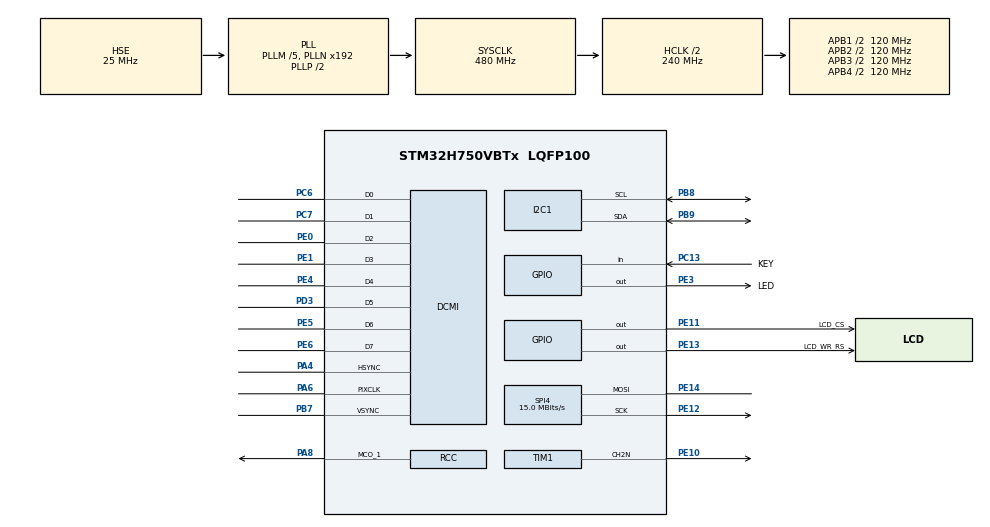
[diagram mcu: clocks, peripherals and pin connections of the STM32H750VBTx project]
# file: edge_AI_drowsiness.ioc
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CORTEX_M7.CPU_DCache=Enabled
CORTEX_M7.CPU_ICache=Enabled
CORTEX_M7.default_mode_Activation=1
DCMI.JPEGMode=DCMI_JPEG_DISABLE
DCMI.PCKPolarity=DCMI_PCKPOLARITY_RISING
Dma.DCMI.0.Direction=DMA_PERIPH_TO_MEMORY
Dma.DCMI.0.EventEnable=DISABLE
Dma.DCMI.0.FIFOMode=DMA_FIFOMODE_DISABLE
Dma.DCMI.0.Instance=DMA1_Stream0
Dma.DCMI.0.MemDataAlignment=DMA_MDATAALIGN_WORD
Dma.DCMI.0.MemInc=DMA_MINC_ENABLE
Dma.DCMI.0.Mode=DMA_CIRCULAR
Dma.DCMI.0.PeriphDataAlignment=DMA_PDATAALIGN_WORD
Dma.DCMI.0.PeriphInc=DMA_PINC_DISABLE
Dma.DCMI.0.Polarity=HAL_DMAMUX_REQ_GEN_RISING
Dma.DCMI.0.Priority=DMA_PRIORITY_LOW
Dma.DCMI.0.RequestNumber=1
Dma.DCMI.0.SignalID=NONE
Dma.DCMI.0.SyncEnable=DISABLE
Dma.DCMI.0.SyncPolarity=HAL_DMAMUX_SYNC_NO_EVENT
Dma.DCMI.0.SyncRequestNumber=1
Dma.DCMI.0.SyncSignalID=NONE
Dma.Request0=DCMI
I2C1.I2C_Fall_Time=10
I2C1.I2C_Rise_Time=100
I2C1.Timing=0x40805E8A
Mcu.Family=STM32H7
Mcu.Name=STM32H750VBTx
Mcu.Package=LQFP100
NVIC.DCMI_IRQn=true\:0\:0\:false\:false\:true\:true\:true\:true
NVIC.DMA1_Stream0_IRQn=true\:0\:0\:false\:false\:true\:false\:true\:true
NVIC.PriorityGroup=NVIC_PRIORITYGROUP_4
NVIC.TIM16_IRQn=true\:2\:0\:true\:false\:true\:true\:true\:true
PA13\ (JTMS/SWDIO).Mode=Serial_Wire
PA13\ (JTMS/SWDIO).Signal=DEBUG_JTMS-SWDIO
PA14\ (JTCK/SWCLK).Mode=Serial_Wire
PA14\ (JTCK/SWCLK).Signal=DEBUG_JTCK-SWCLK
PA4.Mode=Slave_8_bits_External_Synchro
PA4.Signal=DCMI_HSYNC
PA6.Mode=Slave_8_bits_External_Synchro
PA6.Signal=DCMI_PIXCLK
PA8.GPIO_Speed=GPIO_SPEED_FREQ_HIGH
PA8.Mode=Clock-out-1
PA8.Signal=RCC_MCO_1
PB7.Mode=Slave_8_bits_External_Synchro
PB7.Signal=DCMI_VSYNC
PB8.GPIO_Pu=GPIO_PULLUP
PB8.Mode=I2C
PB8.Signal=I2C1_SCL
PB9.GPIO_Pu=GPIO_PULLUP
PB9.Mode=I2C
PB9.Signal=I2C1_SDA
PC13.GPIO_Label=KEY
PC13.GPIO_PuPd=GPIO_PULLDOWN
PC13.Signal=GPIO_Input
PC14-OSC32_IN\ (OSC32_IN).Mode=LSE-External-Oscillator
PC14-OSC32_IN\ (OSC32_IN).Signal=RCC_OSC32_IN
PC15-OSC32_OUT\ (OSC32_OUT).Mode=LSE-External-Oscillator
PC15-OSC32_OUT\ (OSC32_OUT).Signal=RCC_OSC32_OUT
PC6.Mode=Slave_8_bits_External_Synchro
PC6.Signal=DCMI_D0
PC7.Mode=Slave_8_bits_External_Synchro
PC7.Signal=DCMI_D1
PD3.Mode=Slave_8_bits_External_Synchro
PD3.Signal=DCMI_D5
PE0.Mode=Slave_8_bits_External_Synchro
PE0.Signal=DCMI_D2
PE1.Mode=Slave_8_bits_External_Synchro
PE1.Signal=DCMI_D3
PE10.Mode=PWM Generation2 CH2N
PE10.Signal=TIM1_CH2N
PE11.GPIO_Label=LCD_CS
PE11.GPIO_PuPd=GPIO_NOPULL
PE11.GPIO_Speed=GPIO_SPEED_FREQ_VERY_HIGH
PE11.PinState=GPIO_PIN_SET
PE11.Signal=GPIO_Output
PE12.GPIO_Speed=GPIO_SPEED_FREQ_HIGH
PE12.Mode=Simplex_Bidirectional_Master
PE12.Signal=SPI4_SCK
PE13.GPIO_Label=LCD_WR_RS
PE13.GPIO_PuPd=GPIO_NOPULL
PE13.GPIO_Speed=GPIO_SPEED_FREQ_VERY_HIGH
PE13.PinState=GPIO_PIN_SET
PE13.Signal=GPIO_Output
PE14.GPIO_Speed=GPIO_SPEED_FREQ_HIGH
PE14.Mode=Simplex_Bidirectional_Master
PE14.Signal=SPI4_MOSI
PE3.GPIO_Label=LED
PE3.Signal=GPIO_Output
PE4.Mode=Slave_8_bits_External_Synchro
PE4.Signal=DCMI_D4
PE5.Mode=Slave_8_bits_External_Synchro
PE5.Signal=DCMI_D6
PE6.Mode=Slave_8_bits_External_Synchro
PE6.Signal=DCMI_D7
PH0-OSC_IN\ (PH0).Mode=HSE-External-Oscillator
PH0-OSC_IN\ (PH0).Signal=RCC_OSC_IN
PH1-OSC_OUT\ (PH1).Mode=HSE-External-Oscillator
PH1-OSC_OUT\ (PH1).Signal=RCC_OSC_OUT
ProjectManager.HeapSize=0x800
ProjectManager.StackSize=0x800
ProjectManager.TargetToolchain=STM32CubeIDE
RCC.ADCFreq_Value=50390625
RCC.APB1Freq_Value=120000000
RCC.APB2Freq_Value=120000000
RCC.APB3Freq_Value=120000000
RCC.APB4Freq_Value=120000000
RCC.CortexFreq_Value=480000000
RCC.D1PPRE=RCC_APB3_DIV2
RCC.D2PPRE1=RCC_APB1_DIV2
RCC.D2PPRE2=RCC_APB2_DIV2
RCC.D3PPRE=RCC_APB4_DIV2
RCC.DIVM1=5
RCC.DIVN1=192
RCC.HCLKFreq_Value=240000000
RCC.HPRE=RCC_HCLK_DIV2
RCC.HSE_VALUE=25000000
RCC.PLLFRACN=0
RCC.PLLSourceVirtual=RCC_PLLSOURCE_HSE
RCC.PWR_Regulator_Voltage_Scale=PWR_REGULATOR_VOLTAGE_SCALE0
RCC.RCC_MCO1Source=RCC_MCO1SOURCE_HSI48
RCC.RCC_MCODiv1=RCC_MCODIV_4
RCC.SYSCLKFreq_VALUE=480000000
RCC.SYSCLKSource=RCC_SYSCLKSOURCE_PLLCLK
RCC.USBFreq_Value=480000000
SPI4.BaudRatePrescaler=SPI_BAUDRATEPRESCALER_8
SPI4.CalculateBaudRate=15.0 MBits/s
SPI4.DataSize=SPI_DATASIZE_8BIT
SPI4.Direction=SPI_DIRECTION_1LINE
SPI4.Mode=SPI_MODE_MASTER
SPI4.VirtualType=VM_MASTER
STMicroelectronics.X-CUBE-AI.10.0.0.ActivationBufferSizeList=417368
STMicroelectronics.X-CUBE-AI.10.0.0.ActivationBuffers=pool0
STMicroelectronics.X-CUBE-AI.10.0.0.ActivationNames=pool0
STMicroelectronics.X-CUBE-AI.10.0.0.ActivationSizes=AI_NETWORK_DATA_ACTIVATION_1_SIZE
STMicroelectronics.X-CUBE-AI.10.0.0.HeapSize=0x800
STMicroelectronics.X-CUBE-AI.10.0.0.InternalRamActivationBufferMaxSize=AI_NETWORK_DATA_ACTIVATIONS_SIZE
STMicroelectronics.X-CUBE-AI.10.0.0.LatestDirectoryUsed-7c6d498de8e2926c5082a3bf646950b1383796cef7a9a96e32950ee958e1d675=D\:\\Duc_PC\\Hoc_AI_lap_trinh\\notebook_edge_ai\\ModelAI\\model_24_05_2025
STMicroelectronics.X-CUBE-AI.10.0.0.MaximumNumberOfInputLayer=1
STMicroelectronics.X-CUBE-AI.10.0.0.MaximumNumberOfOutputLayer=1
STMicroelectronics.X-CUBE-AI.10.0.0.MaximumSizeOfInputLayer=1
STMicroelectronics.X-CUBE-AI.10.0.0.MaximumSizeOfOutputLayer=1
STMicroelectronics.X-CUBE-AI.10.0.0.ModelActualCompression-7c6d498de8e2926c5082a3bf646950b1383796cef7a9a96e32950ee958e1d675=0.0
STMicroelectronics.X-CUBE-AI.10.0.0.ModelCompression-7c6d498de8e2926c5082a3bf646950b1383796cef7a9a96e32950ee958e1d675=None
STMicroelectronics.X-CUBE-AI.10.0.0.ModelFlashOccupation-7c6d498de8e2926c5082a3bf646950b1383796cef7a9a96e32950ee958e1d675=30722
STMicroelectronics.X-CUBE-AI.10.0.0.ModelHashList=7c6d498de8e2926c5082a3bf646950b1383796cef7a9a96e32950ee958e1d675
STMicroelectronics.X-CUBE-AI.10.0.0.ModelKind-7c6d498de8e2926c5082a3bf646950b1383796cef7a9a96e32950ee958e1d675=ONNX
STMicroelectronics.X-CUBE-AI.10.0.0.ModelMacc-7c6d498de8e2926c5082a3bf646950b1383796cef7a9a96e32950ee958e1d675=2498111
STMicroelectronics.X-CUBE-AI.10.0.0.ModelName-7c6d498de8e2926c5082a3bf646950b1383796cef7a9a96e32950ee958e1d675=network
STMicroelectronics.X-CUBE-AI.10.0.0.ModelNameList=network
STMicroelectronics.X-CUBE-AI.10.0.0.ModelRamOccupation-7c6d498de8e2926c5082a3bf646950b1383796cef7a9a96e32950ee958e1d675=417368
STMicroelectronics.X-CUBE-AI.10.0.0.ModelStructureFile-7c6d498de8e2926c5082a3bf646950b1383796cef7a9a96e32950ee958e1d675=D\:\\Duc_PC\\Hoc_AI_lap_trinh\\notebook_edge_ai\\ModelAI\\model_24_05_2025\\best_model_grayscale_128x128_24_05_2025.onnx
STMicroelectronics.X-CUBE-AI.10.0.0.ModelType-7c6d498de8e2926c5082a3bf646950b1383796cef7a9a96e32950ee958e1d675=STM32Cube.AI MCU runtime
STMicroelectronics.X-CUBE-AI.10.0.0.ReadyForCodeGeneration=true
STMicroelectronics.X-CUBE-AI.10.0.0.StackSize=0x800
STMicroelectronics.X-CUBE-AI.10.0.0.WorkingBufferStartAddrList=0xFFFFFFFF
STMicroelectronics.X-CUBE-AI.10.0.0.XAaCUBEAaAICcArtificialOoIntelligenceJjCore=true
STMicroelectronics.X-CUBE-AI.10.0.0.copyWeightToRam=false
STMicroelectronics.X-CUBE-AI.10.0.0.copyWeightToRam-7c6d498de8e2926c5082a3bf646950b1383796cef7a9a96e32950ee958e1d675=false
STMicroelectronics.X-CUBE-AI.10.0.0.customLayerConfigEnabled=false
STMicroelectronics.X-CUBE-AI.10.0.0.customLayerConfigEnabled-7c6d498de8e2926c5082a3bf646950b1383796cef7a9a96e32950ee958e1d675=false
STMicroelectronics.X-CUBE-AI.10.0.0.noOnnxIoTranspose=false
STMicroelectronics.X-CUBE-AI.10.0.0.noOnnxIoTranspose-7c6d498de8e2926c5082a3bf646950b1383796cef7a9a96e32950ee958e1d675=false
STMicroelectronics.X-CUBE-AI.10.0.0.useInputAllocation=true
STMicroelectronics.X-CUBE-AI.10.0.0.useInputAllocation-7c6d498de8e2926c5082a3bf646950b1383796cef7a9a96e32950ee958e1d675=true
STMicroelectronics.X-CUBE-AI.10.0.0.useOutputAllocation=true
STMicroelectronics.X-CUBE-AI.10.0.0.useOutputAllocation-7c6d498de8e2926c5082a3bf646950b1383796cef7a9a96e32950ee958e1d675=true
TIM1.Channel-PWM\ Generation2\ CH2N=TIM_CHANNEL_2
TIM1.OCNPolarity_2=TIM_OCNPOLARITY_LOW
TIM1.Period=1000-1
TIM1.Prescaler=12-1
TIM16.Period=100-1
TIM16.Prescaler=120-1
VP_MEMORYMAP_VS_MEMORYMAP.Mode=CurAppReg
VP_STMicroelectronics.X-CUBE-AI_VS_ArtificialOoIntelligenceJjXAaCUBEAaAI_10.0.0.Mode=ArtificialOoIntelligenceJjXAaCUBEAaAI
VP_TIM16_VS_ClockSourceINT.Mode=Enable_Timer
board=custom

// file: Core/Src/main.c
/* USER CODE BEGIN Header */
/**
  ******************************************************************************
  * @file           : main.c
  * @brief          : Main program body
  ******************************************************************************
  * @attention
  *
  * Copyright (c) 2025 STMicroelectronics.
  * All rights reserved.
  *
  * This software is licensed under terms that can be found in the LICENSE file
  * in the root directory of this software component.
  * If no LICENSE file comes with this software, it is provided AS-IS.
  *
  ******************************************************************************
  */
/* USER CODE END Header */
#include "main.h"
#include "dcmi.h"
#include "dma.h"
#include "i2c.h"
#include "memorymap.h"
#include "spi.h"
#include "tim.h"
#include "gpio.h"

/* USER CODE BEGIN Includes */
#include "../../Drivers/OVCamera/Inc/camera.h"
#include "../../Drivers/ST7735LCD/Inc/lcd.h"
#include "network.h"
#include "network_data.h"
#include "arm_math.h"
/* USER CODE END Includes */

/* USER CODE BEGIN PD */
#define FrameWidth 128
#define FrameHeight 128
/* USER CODE END PD */

/* USER CODE BEGIN PV */
uint32_t DCMI_FrameIsReady;
uint32_t Camera_FPS=0;

uint8_t dcmi_buffer[FrameWidth * FrameHeight * 2];  // Buffer cho dữ liệu YUV422
__attribute__((section(".RAM_D2")))
uint16_t grayscale_buf[FrameWidth][FrameHeight];    // Buffer lưu dữ liệu grayscale
uint16_t framebuffer[FrameWidth][FrameHeight];     // Framebuffer cho LCD

static ai_handle network = AI_HANDLE_NULL;
AI_ALIGNED(32) static ai_u8 activations[AI_NETWORK_DATA_ACTIVATIONS_SIZE];
__attribute__((section(".RAM_D2")))
AI_ALIGNED(32) static ai_float input_data[AI_NETWORK_IN_1_SIZE];
AI_ALIGNED(32) static ai_float out_data[AI_NETWORK_OUT_1_SIZE];
static ai_buffer *ai_input;
static ai_buffer *ai_output;
static ai_error Err_Report;
uint8_t pred_class[16][16];
/* USER CODE END PV */

void SystemClock_Config(void);
static void MPU_Config(void);

/* USER CODE BEGIN 0 */
void LED_Blink(uint32_t Hdelay, uint32_t Ldelay)
{
  HAL_GPIO_WritePin(KEY_GPIO_Port, LED_Pin, GPIO_PIN_SET);
  HAL_Delay(Hdelay - 1);
  HAL_GPIO_WritePin(KEY_GPIO_Port, LED_Pin, GPIO_PIN_RESET);
  HAL_Delay(Ldelay - 1);
}

void HAL_DCMI_FrameEventCallback(DCMI_HandleTypeDef *hdcmi)
{
	static uint32_t count = 0,tick = 0;

	if(HAL_GetTick() - tick >= 1000)
	{
		tick = HAL_GetTick();
		Camera_FPS = count;
		count = 0;
	}
	count ++;

	DCMI_FrameIsReady = 1;
}
void convert_yuv422_to_grayscale_and_ai_input(uint8_t *yuv422_buf,
                                             uint16_t grayscale_buf[][128],
                                             ai_float *ai_input_buf) {
    //Chuyển YUV sang RGB565 và lưu Y vào ai_input_buf
    for (uint32_t y = 0; y < FrameHeight; y++) {
        for (uint32_t x = 0; x < FrameWidth; x += 2) {
            uint32_t idx = (y * FrameWidth + x) * 2;
            uint8_t Y0 = yuv422_buf[idx];
            uint8_t Y1 = yuv422_buf[idx + 2];

            // Chuyển Y sang RGB565 (grayscale: R=G=B=Y)
            uint8_t R0 = Y0 >> 3;  // 8 bit -> 5 bit
            uint8_t G0 = Y0 >> 2;  // 8 bit -> 6 bit
            uint8_t B0 = Y0 >> 3;  // 8 bit -> 5 bit
            uint16_t pixel0 = ((R0 & 0x1F) << 11) | ((G0 & 0x3F) << 5) | (B0 & 0x1F);

            uint8_t R1 = Y1 >> 3;
            uint8_t G1 = Y1 >> 2;
            uint8_t B1 = Y1 >> 3;
            uint16_t pixel1 = ((R1 & 0x1F) << 11) | ((G1 & 0x3F) << 5) | (B1 & 0x1F);

            // Swap byte cho LCD TFT
            grayscale_buf[y][x] = ((pixel0 & 0xFF) << 8) | ((pixel0 >> 8) & 0xFF);
            grayscale_buf[y][x + 1] = ((pixel1 & 0xFF) << 8) | ((pixel1 >> 8) & 0xFF);

            // Lưu giá trị Y trực tiếp vào ai_input_buf
            ai_input_buf[y * FrameWidth + x] = (ai_float)Y0;
            ai_input_buf[y * FrameWidth + x + 1] = (ai_float)Y1;
        }
    }

    //Chuẩn hóa dùng CMSIS-DSP
    arm_scale_f32(ai_input_buf, 1.0f / 127.5f, ai_input_buf, FrameWidth * FrameHeight); // [0, 255] -> [0, 2]
    arm_offset_f32(ai_input_buf, -1.0f, ai_input_buf, FrameWidth * FrameHeight);       // [0, 2] -> [-1, 1]
}
void AI_Init(void)
{
	ai_error err;
	/* Create a local array with the addresses of the activations buffers */
	const ai_handle acts[] = {activations};
	/* Create an instance of the model */
	err = ai_network_create_and_init(&network, acts, NULL);
	if (err.type != AI_ERROR_NONE)
	{
		Err_Report = err;
	}
	ai_input = ai_network_inputs_get(network, NULL);
	ai_output = ai_network_outputs_get(network, NULL);
}
int AI_Run(const void *in_data, const void *out_data)
{
	ai_i32 n_batch;
	//ai_error err;

	/*Update the data*/
	ai_input[0].data = AI_HANDLE_PTR(in_data);
	ai_output[0].data = AI_HANDLE_PTR(out_data);
	/*Perform the interference*/
	n_batch = ai_network_run(network, &ai_input[0],&ai_output[0]);
	if (n_batch != 1)
	{
		Err_Report = ai_network_get_error(network);
		printf("AI ai_network_run error - type=%d code=%d\r\n", Err_Report.type, Err_Report.code);
		//Error_Handler();
	}
	return n_batch;
}
bool analyze_prediction_from_output(const ai_float* output_ai) {
    int count_1 = 0; // Drowsy
    int count_2 = 0; // non-Drowsy

    for (int y = 0; y < 16; y++) {
        for (int x = 0; x < 16; x++) {
            const ai_float* ptr = output_ai + (y * 16 + x);
            ai_float val0 = ptr[0];
            ai_float val1 = ptr[16 * 16];
            ai_float val2 = ptr[2 * 16 * 16];
            uint8_t max_idx = 0;

            if (val1 > val0) { val0 = val1; max_idx = 1; }
            if (val2 > val0) { max_idx = 2; }

            if (max_idx == 1) count_1++;
            else if (max_idx == 2) count_2++;
        }
    }
    if ((count_1 + count_2) > 40)
    	{return (count_1 > 0.8*count_2);}
    return false;
}
/* USER CODE END 0 */

int main(void)
{

  /* USER CODE BEGIN 1 */
  //MPU_Config();
  //CPU_CACHE_Enable();
  /* USER CODE END 1 */

  /* MPU Configuration--------------------------------------------------------*/
  MPU_Config();

  /* Enable the CPU Cache */

  /* Enable I-Cache---------------------------------------------------------*/
  SCB_EnableICache();

  /* Enable D-Cache---------------------------------------------------------*/
  SCB_EnableDCache();

  /* MCU Configuration--------------------------------------------------------*/

  /* Reset of all peripherals, Initializes the Flash interface and the Systick. */
  HAL_Init();

  /* Configure the system clock */
  SystemClock_Config();

  /* Initialize all configured peripherals */
  MX_GPIO_Init();
  MX_DMA_Init();
  MX_DCMI_Init();
  MX_I2C1_Init();
  MX_SPI4_Init();
  MX_TIM1_Init();
  MX_TIM16_Init();
  /* USER CODE BEGIN 2 */
  uint8_t text[20];

  LCD_Test();
  AI_Init();

  sprintf((char *)&text, "Camera Not Found");
  LCD_ShowString(0, 58, ST7735Ctx.Width, 16, 16, text);

  Camera_Init_Device(&hi2c1, FRAMESIZE_128X128); //128x128

  ST7735_LCD_Driver.FillRect(&st7735_pObj, 0, 58, ST7735Ctx.Width, 16, BLACK);

  while (HAL_GPIO_ReadPin(KEY_GPIO_Port, KEY_Pin) == GPIO_PIN_RESET)
  {

    sprintf((char *)&text, "Camera id:0x%x   ", hcamera.device_id);
    LCD_ShowString(0, 58, ST7735Ctx.Width, 16, 12, text);

    LED_Blink(5, 500);

    sprintf((char *)&text, "LongPress K1 to Run");
    LCD_ShowString(0, 58, ST7735Ctx.Width, 16, 12, text);

    LED_Blink(5, 500);
  }

  HAL_DCMI_Start_DMA(&hdcmi, DCMI_MODE_CONTINUOUS, (uint32_t)&dcmi_buffer, FrameWidth * FrameHeight * 2 / 4);

  /* USER CODE END 2 */

  /* Infinite loop */
  /* USER CODE BEGIN WHILE */
  while (1)
  {
	  if (DCMI_FrameIsReady)
	  {
	  	DCMI_FrameIsReady = 0; //Note that frame is processed

	  	convert_yuv422_to_grayscale_and_ai_input(dcmi_buffer, framebuffer, input_data);

	  	ST7735_FillRGBRect(&st7735_pObj, 0, 0, (uint8_t *)&framebuffer[0], FrameWidth, 80);

	  	AI_Run(&input_data, &out_data);

	  	bool result = analyze_prediction_from_output(out_data);
	  	if (result)
	  	{
	  		sprintf((char *)&text,"Drowsy");
	  	}
	  	else
	  	{
	  		sprintf((char *)&text,"OK");
	  	}
	  	//display camera FPS
	  	//sprintf((char *)&text,"%dFPS",Camera_FPS);
	  	LCD_ShowString(5,5,60,16,12,text);

	  	LED_Blink(5, 100);
	  }
    /* USER CODE END WHILE */

  }
}

void SystemClock_Config(void)
{
  RCC_OscInitTypeDef RCC_OscInitStruct = {0};
  RCC_ClkInitTypeDef RCC_ClkInitStruct = {0};

  /** Supply configuration update enable
  */
  HAL_PWREx_ConfigSupply(PWR_LDO_SUPPLY);

  /** Configure the main internal regulator output voltage
  */
  __HAL_PWR_VOLTAGESCALING_CONFIG(PWR_REGULATOR_VOLTAGE_SCALE0);

  while(!__HAL_PWR_GET_FLAG(PWR_FLAG_VOSRDY)) {}

  /** Initializes the RCC Oscillators according to the specified parameters
  * in the RCC_OscInitTypeDef structure.
  */
  RCC_OscInitStruct.OscillatorType = RCC_OSCILLATORTYPE_HSI48|RCC_OSCILLATORTYPE_HSE;
  RCC_OscInitStruct.HSEState = RCC_HSE_ON;
  RCC_OscInitStruct.HSI48State = RCC_HSI48_ON;
  RCC_OscInitStruct.PLL.PLLState = RCC_PLL_ON;
  RCC_OscInitStruct.PLL.PLLSource = RCC_PLLSOURCE_HSE;
  RCC_OscInitStruct.PLL.PLLM = 5;
  RCC_OscInitStruct.PLL.PLLN = 192;
  RCC_OscInitStruct.PLL.PLLP = 2;
  RCC_OscInitStruct.PLL.PLLQ = 2;
  RCC_OscInitStruct.PLL.PLLR = 2;
  RCC_OscInitStruct.PLL.PLLRGE = RCC_PLL1VCIRANGE_2;
  RCC_OscInitStruct.PLL.PLLVCOSEL = RCC_PLL1VCOWIDE;
  RCC_OscInitStruct.PLL.PLLFRACN = 0;
  if (HAL_RCC_OscConfig(&RCC_OscInitStruct) != HAL_OK)
  {
    Error_Handler();
  }

  /** Initializes the CPU, AHB and APB buses clocks
  */
  RCC_ClkInitStruct.ClockType = RCC_CLOCKTYPE_HCLK|RCC_CLOCKTYPE_SYSCLK
                              |RCC_CLOCKTYPE_PCLK1|RCC_CLOCKTYPE_PCLK2
                              |RCC_CLOCKTYPE_D3PCLK1|RCC_CLOCKTYPE_D1PCLK1;
  RCC_ClkInitStruct.SYSCLKSource = RCC_SYSCLKSOURCE_PLLCLK;
  RCC_ClkInitStruct.SYSCLKDivider = RCC_SYSCLK_DIV1;
  RCC_ClkInitStruct.AHBCLKDivider = RCC_HCLK_DIV2;
  RCC_ClkInitStruct.APB3CLKDivider = RCC_APB3_DIV2;
  RCC_ClkInitStruct.APB1CLKDivider = RCC_APB1_DIV2;
  RCC_ClkInitStruct.APB2CLKDivider = RCC_APB2_DIV2;
  RCC_ClkInitStruct.APB4CLKDivider = RCC_APB4_DIV2;

  if (HAL_RCC_ClockConfig(&RCC_ClkInitStruct, FLASH_LATENCY_4) != HAL_OK)
  {
    Error_Handler();
  }
  HAL_RCC_MCOConfig(RCC_MCO1, RCC_MCO1SOURCE_HSI48, RCC_MCODIV_4);
}

 /* MPU Configuration */

void MPU_Config(void)
{
  MPU_Region_InitTypeDef MPU_InitStruct = {0};

  /* Disables the MPU */
  HAL_MPU_Disable();

  /** Initializes and configures the Region and the memory to be protected
  */
  MPU_InitStruct.Enable = MPU_REGION_ENABLE;
  MPU_InitStruct.Number = MPU_REGION_NUMBER0;
  MPU_InitStruct.BaseAddress = 0x0;
  MPU_InitStruct.Size = MPU_REGION_SIZE_4GB;
  MPU_InitStruct.SubRegionDisable = 0x87;
  MPU_InitStruct.TypeExtField = MPU_TEX_LEVEL0;
  MPU_InitStruct.AccessPermission = MPU_REGION_NO_ACCESS;
  MPU_InitStruct.DisableExec = MPU_INSTRUCTION_ACCESS_DISABLE;
  MPU_InitStruct.IsShareable = MPU_ACCESS_SHAREABLE;
  MPU_InitStruct.IsCacheable = MPU_ACCESS_NOT_CACHEABLE;
  MPU_InitStruct.IsBufferable = MPU_ACCESS_NOT_BUFFERABLE;

  HAL_MPU_ConfigRegion(&MPU_InitStruct);
  /* Enables the MPU */
  HAL_MPU_Enable(MPU_PRIVILEGED_DEFAULT);

}

void Error_Handler(void)
{
  __disable_irq();
  while (1)
  {
  }
}
